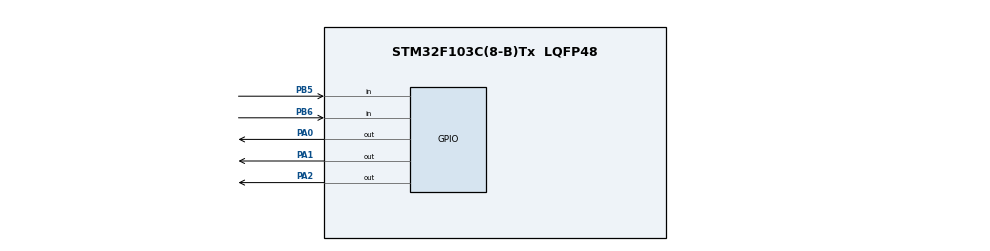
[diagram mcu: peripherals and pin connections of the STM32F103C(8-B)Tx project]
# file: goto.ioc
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Mcu.Family=STM32F1
Mcu.Name=STM32F103C(8-B)Tx
Mcu.Package=LQFP48
NVIC.PriorityGroup=NVIC_PRIORITYGROUP_4
PA0-WKUP.Signal=GPIO_Output
PA1.Signal=GPIO_Output
PA2.Signal=GPIO_Output
PB5.GPIO_PuPd=GPIO_PULLUP
PB5.Signal=GPIO_Input
PB6.GPIO_PuPd=GPIO_PULLUP
PB6.Signal=GPIO_Input
ProjectManager.HeapSize=0x200
ProjectManager.StackSize=0x400
ProjectManager.TargetToolchain=MDK-ARM V5.32
RCC.APB1Freq_Value=8000000
RCC.APB2Freq_Value=8000000
VP_SYS_VS_ND.Mode=No_Debug
board=custom

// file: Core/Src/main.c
/* USER CODE BEGIN Header */
/**
  ******************************************************************************
  * @file           : main.c
  * @brief          : Main program body
  ******************************************************************************
  * @attention
  *
  * Copyright (c) 2022 STMicroelectronics.
  * All rights reserved.
  *
  * This software is licensed under terms that can be found in the LICENSE file
  * in the root directory of this software component.
  * If no LICENSE file comes with this software, it is provided AS-IS.
  *
  ******************************************************************************
  */
/* USER CODE END Header */
#include "main.h"

void SystemClock_Config(void);
static void MX_GPIO_Init(void);

/* USER CODE BEGIN 0 */
typedef enum{
	GPIOA_PIN_0 = 1,
	GPIOA_PIN_1 = 1 << 1,
	GPIOA_PIN_2 = 1 << 2
}GPIOA_PIN;

typedef enum{
	BTN_BLINKLED,
	BTN_SANGDUOI,
	BTN_TAT,
	BTN_KHONG
}NutNhan;

uint16_t PORT_A = 0x0000;

void blinkLED();
void sangDuoi();

//NutNhan buttonBlinkLED(){
//	int readPin = HAL_GPIO_ReadPin(GPIOB, GPIO_PIN_5);
//	if(readPin == 0){
//		return BTN_BLINKLED;
//	}else{
//		return BTN_KHONG;
//	}
//}

//NutNhan buttonSangDuoi(){
//	int readPin = HAL_GPIO_ReadPin(GPIOB, GPIO_PIN_6);
//	if(readPin == 0){
//		return BTN_SANGDUOI;
//	}else{
//		return BTN_KHONG;
//	}
//}

NutNhan button(){
	int readPin1 = HAL_GPIO_ReadPin(GPIOB, GPIO_PIN_5);
	int readPin2 = HAL_GPIO_ReadPin(GPIOB, GPIO_PIN_6);

	if(readPin1 == 0){
		return BTN_BLINKLED;
	}else if(readPin2 == 0){
		return BTN_SANGDUOI;
	}else{
		return BTN_KHONG;
	}
}

int delay10msAndCheck(int delay){
	int mdelay = delay/10;
	for (int i = 0; i < mdelay; i++)
	{
		NutNhan btn;

			btn =  button();

		switch (btn)
		{
			case BTN_BLINKLED:
				blinkLED();
				return 1;
				break;
			case BTN_SANGDUOI:
				sangDuoi();
				return 1;
				break;
			case BTN_KHONG:
				return 0;
				break;
			default:
				break;
		}
		HAL_Delay(10);
	}
}

void blinkLED(){
	HAL_GPIO_WritePin(GPIOA,  GPIOA_PIN_0 | GPIOA_PIN_1 | GPIOA_PIN_2, 0);
	for (int i = 0; i < 10; i++)
	{
		HAL_GPIO_TogglePin(GPIOA, GPIOA_PIN_0 | GPIOA_PIN_1 | GPIOA_PIN_2);
		HAL_Delay(1000);
		if ( delay10msAndCheck(1000) == 1){
			goto Out;
		} // break;
	}
	Out:
}

void sangDuoi(){
	//HAL_GPIO_TogglePin(GPIOA, GPIOA_PIN_0 | GPIOA_PIN_1 | GPIOA_PIN_2);
	HAL_GPIO_WritePin(GPIOA,  GPIOA_PIN_0 | GPIOA_PIN_1 | GPIOA_PIN_2, 0);
	for (int j = 0; j < 10; j++){
		PORT_A = GPIOA_PIN_0;
		for (int i = 0; i < 3; i++)
		{
			HAL_GPIO_TogglePin(GPIOA, PORT_A);
			HAL_Delay(1000);
			HAL_GPIO_TogglePin(GPIOA, PORT_A);
			PORT_A = PORT_A << 1;
			if ( delay10msAndCheck(1000) == 1){
				goto Out;
			}
		}
	}
	Out:
}

/* USER CODE END 0 */

int main(void)
{

  /* MCU Configuration--------------------------------------------------------*/

  /* Reset of all peripherals, Initializes the Flash interface and the Systick. */
  HAL_Init();

  /* Configure the system clock */
  SystemClock_Config();

  /* Initialize all configured peripherals */
  MX_GPIO_Init();

  /* Infinite loop */
  while (1)
  {

    /* USER CODE BEGIN 3 */
		blinkLED();
		sangDuoi();

  }
  /* USER CODE END 3 */
}

void SystemClock_Config(void)
{
  RCC_OscInitTypeDef RCC_OscInitStruct = {0};
  RCC_ClkInitTypeDef RCC_ClkInitStruct = {0};

  /** Initializes the RCC Oscillators according to the specified parameters
  * in the RCC_OscInitTypeDef structure.
  */
  RCC_OscInitStruct.OscillatorType = RCC_OSCILLATORTYPE_HSI;
  RCC_OscInitStruct.HSIState = RCC_HSI_ON;
  RCC_OscInitStruct.HSICalibrationValue = RCC_HSICALIBRATION_DEFAULT;
  RCC_OscInitStruct.PLL.PLLState = RCC_PLL_NONE;
  if (HAL_RCC_OscConfig(&RCC_OscInitStruct) != HAL_OK)
  {
    Error_Handler();
  }
  /** Initializes the CPU, AHB and APB buses clocks
  */
  RCC_ClkInitStruct.ClockType = RCC_CLOCKTYPE_HCLK|RCC_CLOCKTYPE_SYSCLK
                              |RCC_CLOCKTYPE_PCLK1|RCC_CLOCKTYPE_PCLK2;
  RCC_ClkInitStruct.SYSCLKSource = RCC_SYSCLKSOURCE_HSI;
  RCC_ClkInitStruct.AHBCLKDivider = RCC_SYSCLK_DIV1;
  RCC_ClkInitStruct.APB1CLKDivider = RCC_HCLK_DIV1;
  RCC_ClkInitStruct.APB2CLKDivider = RCC_HCLK_DIV1;

  if (HAL_RCC_ClockConfig(&RCC_ClkInitStruct, FLASH_LATENCY_0) != HAL_OK)
  {
    Error_Handler();
  }
}

static void MX_GPIO_Init(void)
{
  GPIO_InitTypeDef GPIO_InitStruct = {0};

  /* GPIO Ports Clock Enable */
  __HAL_RCC_GPIOA_CLK_ENABLE();
  __HAL_RCC_GPIOB_CLK_ENABLE();

  /*Configure GPIO pin Output Level */
  HAL_GPIO_WritePin(GPIOA, GPIO_PIN_0|GPIO_PIN_1|GPIO_PIN_2, GPIO_PIN_RESET);

  /*Configure GPIO pins : PA0 PA1 PA2 */
  GPIO_InitStruct.Pin = GPIO_PIN_0|GPIO_PIN_1|GPIO_PIN_2;
  GPIO_InitStruct.Mode = GPIO_MODE_OUTPUT_PP;
  GPIO_InitStruct.Pull = GPIO_NOPULL;
  GPIO_InitStruct.Speed = GPIO_SPEED_FREQ_LOW;
  HAL_GPIO_Init(GPIOA, &GPIO_InitStruct);

  /*Configure GPIO pins : PB5 PB6 */
  GPIO_InitStruct.Pin = GPIO_PIN_5|GPIO_PIN_6;
  GPIO_InitStruct.Mode = GPIO_MODE_INPUT;
  GPIO_InitStruct.Pull = GPIO_PULLUP;
  HAL_GPIO_Init(GPIOB, &GPIO_InitStruct);

}

void Error_Handler(void)
{
  __disable_irq();
  while (1)
  {
  }
}
